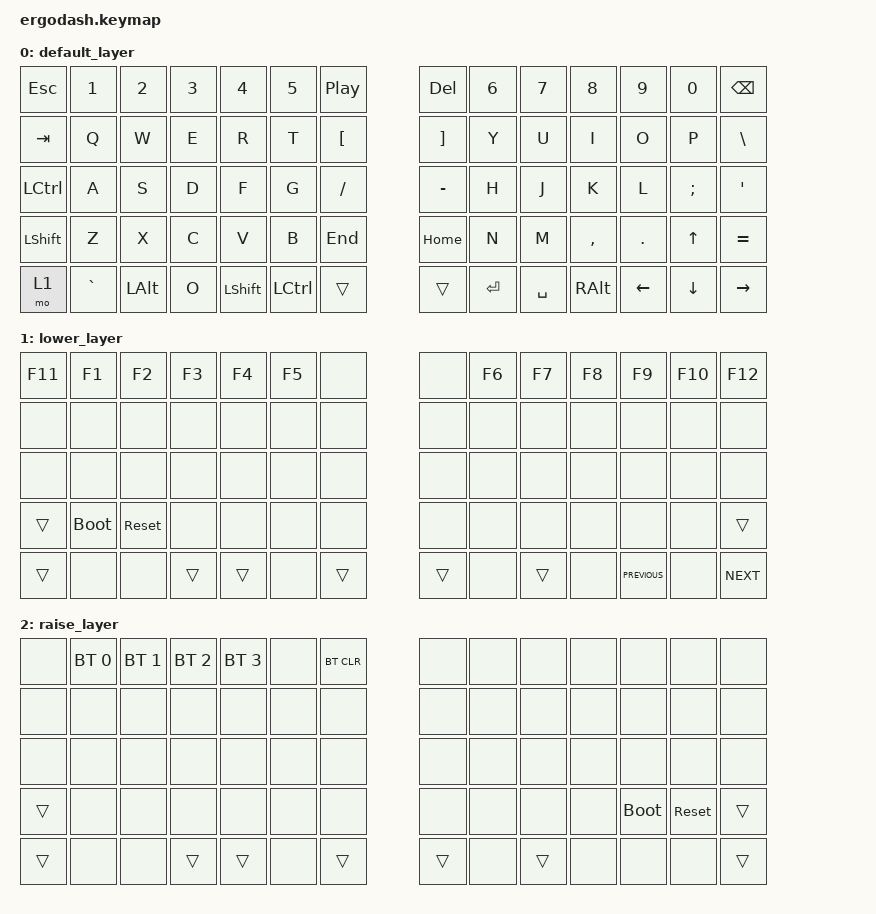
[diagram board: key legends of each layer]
/*
 * Copyright (c) 2020 The ZMK Contributors
 *
 * SPDX-License-Identifier: MIT
 */

#include <behaviors.dtsi>
#include <dt-bindings/zmk/bt.h>
#include <dt-bindings/zmk/keys.h>

#define DEFAULT 0
#define LOWER   1
#define RAISE   2

/ {
    keymap {
        compatible = "zmk,keymap";

        default_layer {
            /* QWERTY
 * .----------------------------------------------------------------------------------------------------------------------.
 * |  `   |   1  |   2  |   3  |   4  |   5  |  [   |                    |  ]   |   6  |   7  |   8  |   9  |   0  | PScr |
 * |------+------+------+------+------+------+------+--------------------+------+------+------+------+------+------+------|
 * | ESC  |   Q  |   W  |   E  |   R  |   T  |  -   |                    |  =   |   Y  |   U  |   I  |   O  |   P  |  \   |
 * |------+------+------+------+------+------+------+--------------------+------+------+------+------+------+------+------|
 * | Tab  |   A  |   S  |   D  |   F  |   G  | Del  |                    | Bksp |   H  |   J  |   K  |   L  |   ;  |  '   |
 * |------+------+------+------+------+------+---------------------------+------+------+------+------+------+------+------|
 * | Shift|   Z  |   X  |   C  |   V  |   B  | End  |                    | Home |   N  |   M  |   ,  |   .  |   /  | Shift|
 * |-------------+------+------+------+------+------+------+------+------+------+------+------+------+------+-------------|
 * | Ctrl |      | PGDN | Win  |||||||| Alt  | Space| Lower|||||||| Raise| Enter| RAlt ||||||||      | PGUP | Ins  | RCtrl|
 * .----------------------------------------------------------------------------------------------------------------------.
 */

            bindings = <
&kp ESCAPE        &kp N1     &kp N2        &kp N3  &kp N4          &kp N5  &kp C_PLAY_PAUSE                     &kp DELETE         &kp N6  &kp N7     &kp N8         &kp N9          &kp N0          &kp BACKSPACE
&kp TAB           &kp Q      &kp W         &kp E   &kp R           &kp T   &kp LEFT_BRACKET                     &kp RIGHT_BRACKET  &kp Y   &kp U      &kp I          &kp O           &kp P           &kp BSLH
&kp LEFT_CONTROL  &kp A      &kp S         &kp D   &kp F           &kp G   &kp SLASH                            &kp MINUS          &kp H   &kp J      &kp K          &kp L           &kp SEMI        &kp SQT
&kp LSHFT         &kp Z      &kp X         &kp C   &kp V           &kp B                     &kp END  &kp HOME                     &kp N   &kp M      &kp COMMA      &kp DOT         &kp UP_ARROW    &kp EQUAL
&mo 1             &kp GRAVE  &kp LEFT_ALT  &kp O   &kp LEFT_SHIFT          &kp LEFT_CONTROL  &trans   &trans    &kp ENTER                  &kp SPACE  &kp RIGHT_ALT  &kp LEFT_ARROW  &kp DOWN_ARROW  &kp RIGHT_ARROW
            >;
        };

        lower_layer {
            /* .----------------------------------------------------------------------------------------------------------------------.
 * |  F11 |  F1  |  F2  |  F3  |  F4  |  F5  |      |                    |      |  F6  |  F7  |  F8  |  F9  |  F10 |  F12 |
 * |------+------+------+------+------+------+------+--------------------+------+------+------+------+------+------+------|
 * |      |      |      |      |      |      |      |                    |      |      |      |      |      |      |      |
 * |------+------+------+------+------+------+------+--------------------+------+------+------+------+------+------+------|
 * |      |      |      |      |      |      |      |                    |      |      |      |      |      |      |      |
 * |------+------+------+------+------+------+---------------------------+------+------+------+------+------+------+------|
 * | Shift| Boot | Reset|      |      |      |      |                    |      |      |      |      |      |      | Shift|
 * |-------------+------+------+------+------+------+------+------+------+------+------+------+------+------+-------------|
 * | Ctlr |      |      |  Win |||||||| Alt  |      | Lower|||||||| Raise|      | RAlt ||||||||      |      |      | RCtrl|
 * .----------------------------------------------------------------------------------------------------------------------.
 */ /* FIXME boot and reset are not yet locale aware */
            bindings = <
&kp F11  &kp F1       &kp F2      &kp F3  &kp F4  &kp F5  &none                  &none  &kp F6  &kp F7  &kp F8  &kp F9          &kp F10  &kp F12
&none    &none        &none       &none   &none   &none   &none                  &none  &none   &none   &none   &none           &none    &none
&none    &none        &none       &none   &none   &none   &none                  &none  &none   &none   &none   &none           &none    &none
&trans   &bootloader  &sys_reset  &none   &none   &none          &none   &none          &none   &none   &none   &none           &none    &trans
&trans   &none        &none       &trans  &trans          &none  &trans  &trans  &none          &trans  &none   &kp C_PREVIOUS  &none    &kp C_NEXT
            >;
        };

        raise_layer {
            /* .----------------------------------------------------------------------------------------------------------------------.
 * |      | BT 0 | BT 1 | BT 2 | BT 3 |      | BTCL |                    |      |      |      |      |      |      |      |
 * |------+------+------+------+------+------+------+--------------------+------+------+------+------+------+------+------|
 * |      |      |      |      |      |      |      |                    |      |      |      |      |      |      |      |
 * |------+------+------+------+------+------+------+--------------------+------+------+------+------+------+------+------|
 * |      |      |      |      |      |      |      |                    |      |      |      |      |      |      |      |
 * |------+------+------+------+------+------+---------------------------+------+------+------+------+------+------+------|
 * | Shift|      |      |      |      |      |      |                    |      |      |      |      | Boot | Reset| Shift|
 * |-------------+------+------+------+------+------+------+------+------+------+------+------+------+------+-------------|
 * | Ctlr |      |      |  Win |||||||| Alt  |      | Lower|||||||| Raise|      | RAlt ||||||||      |      |      | RCtrl|
 * .----------------------------------------------------------------------------------------------------------------------.
 */ /* FIXME boot and reset are not yet locale aware */
            bindings = <
&none   &bt BT_SEL 0  &bt BT_SEL 1  &bt BT_SEL 2  &bt BT_SEL 3  &none  &bt BT_CLR                  &none  &none  &none   &none  &none        &none       &none
&none   &none         &none         &none         &none         &none  &none                       &none  &none  &none   &none  &none        &none       &none
&none   &none         &none         &none         &none         &none  &none                       &none  &none  &none   &none  &none        &none       &none
&trans  &none         &none         &none         &none         &none              &none   &none          &none  &none   &none  &bootloader  &sys_reset  &trans
&trans  &none         &none         &trans        &trans               &none       &trans  &trans  &none         &trans  &none  &none        &none       &trans
            >;
        };
    };
};
